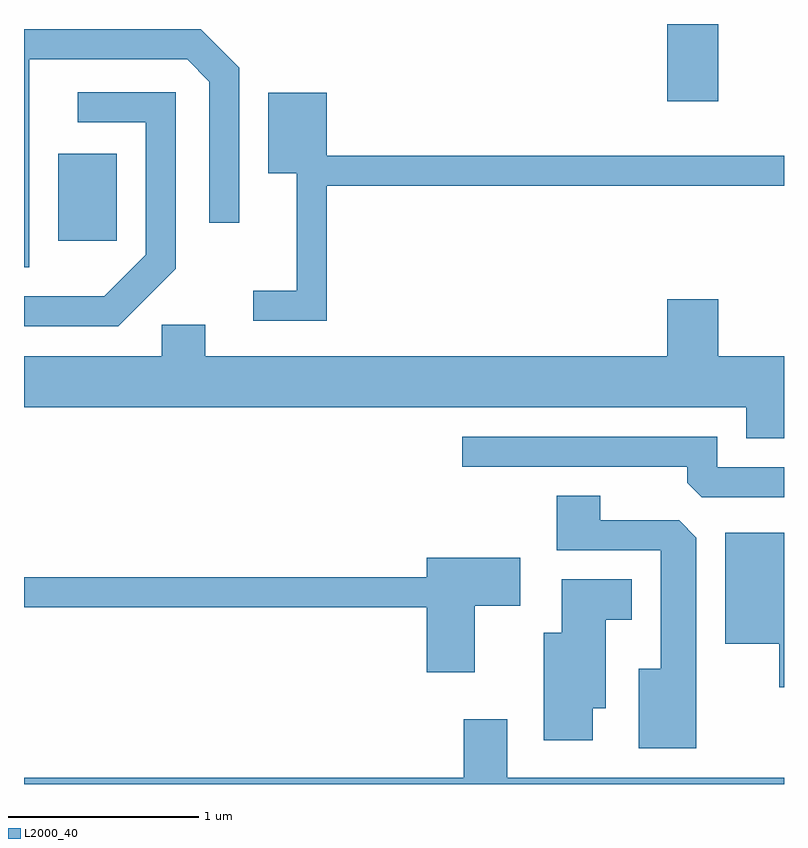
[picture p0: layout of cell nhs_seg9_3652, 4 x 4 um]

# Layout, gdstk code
import gdstk
lib = gdstk.Library(unit=1e-6, precision=1e-09)
def R(c, l, rs):  # rectangles x0, y0, x1, y1
    for r in rs: c.add(gdstk.rectangle(r[:2], r[2:], *l))
def P(c, l, *ps):  # polygons
    for p in ps: c.add(gdstk.Polygon(p, *l))
L2000_40 = (2000, 40)

nhs_seg9_3652 = lib.new_cell('nhs_seg9_3652')
R(nhs_seg9_3652, L2000_40, [(291.791,2059.291,292.099,2059.749), (294.996,2060.026,295.264,2060.432), (292.791,2060.431,293.019,2060.432)])
P(nhs_seg9_3652, L2000_40, [(291.639,2060.246),(292.469,2060.246),(292.586,2060.129),(292.586,2059.387),(292.744,2059.387),(292.744,2060.202),(292.542,2060.404),(291.611,2060.404),(291.611,2059.151),(291.639,2059.151)],
  [(292.409,2059.144),(292.409,2060.074),(291.893,2060.074),(291.893,2059.916),(292.251,2059.916),(292.251,2059.217),(292.034,2058.999),(291.611,2058.999),(291.611,2058.841),(292.107,2058.841)],
  [(293.204,2059.581),(295.611,2059.581),(295.611,2059.739),(293.204,2059.739),(293.204,2060.069),(292.896,2060.069),(292.896,2059.646),(293.046,2059.646),(293.046,2059.029),(292.818,2059.029),(292.818,2058.871),(293.204,2058.871)],
  [(295.611,2058.684),(295.264,2058.684),(295.264,2058.984),(294.996,2058.984),(294.996,2058.684),(292.564,2058.684),(292.564,2058.849),(292.336,2058.849),(292.336,2058.684),(291.611,2058.684),(291.611,2058.416),(295.411,2058.416),(295.411,2058.251),(295.611,2058.251)],
  [(295.611,2058.099),(295.259,2058.099),(295.259,2058.259),(293.918,2058.259),(293.918,2058.101),(295.101,2058.101),(295.101,2058.017),(295.177,2057.941),(295.611,2057.941)],
  [(295.149,2057.729),(295.059,2057.819),(294.644,2057.819),(294.644,2057.949),(294.416,2057.949),(294.416,2057.661),(294.961,2057.661),(294.961,2057.039),(294.846,2057.039),(294.846,2056.621),(295.149,2056.621)],
  [(295.611,2057.754),(295.301,2057.754),(295.301,2057.171),(295.586,2057.171),(295.586,2056.941),(295.611,2056.941)],
  [(293.984,2057.371),(294.224,2057.371),(294.224,2057.624),(293.731,2057.624),(293.731,2057.519),(291.611,2057.519),(291.611,2057.361),(293.731,2057.361),(293.731,2057.021),(293.984,2057.021)],
  [(294.604,2056.831),(294.674,2056.831),(294.674,2057.296),(294.809,2057.296),(294.809,2057.509),(294.441,2057.509),(294.441,2057.229),(294.346,2057.229),(294.346,2056.661),(294.604,2056.661)],
  [(295.611,2056.464),(294.154,2056.464),(294.154,2056.774),(293.926,2056.774),(293.926,2056.464),(291.611,2056.464),(291.611,2056.432),(295.611,2056.432)])

lib.write_gds('nhs_seg9_3652.gds')
